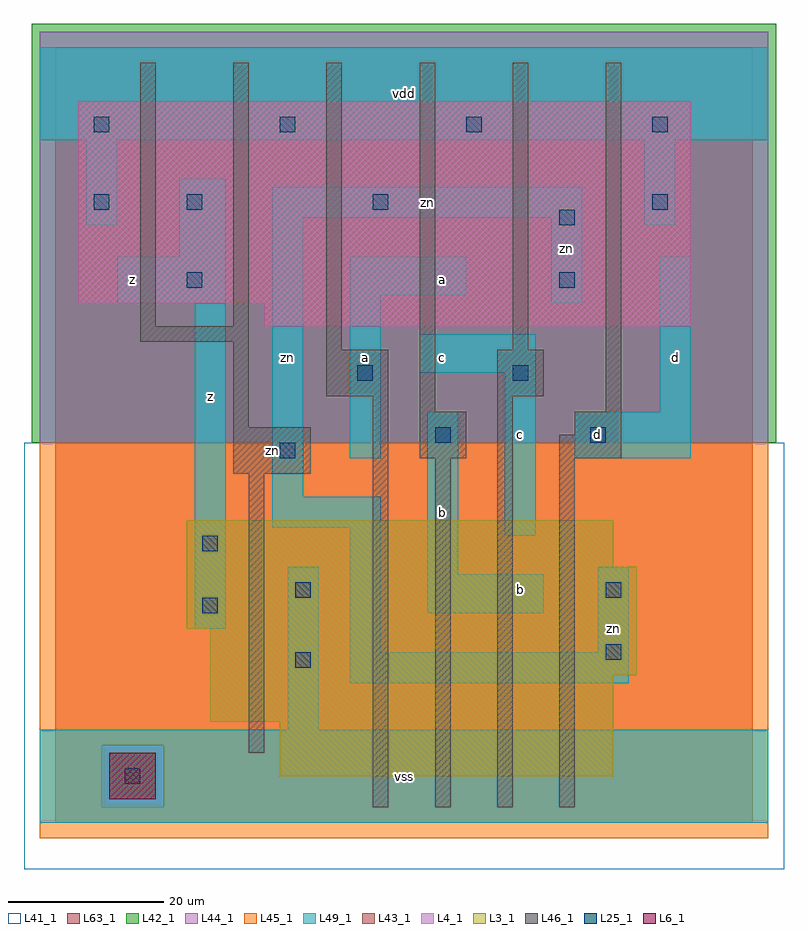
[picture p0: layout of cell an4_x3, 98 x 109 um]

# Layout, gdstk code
import gdstk
lib = gdstk.Library(unit=1e-6, precision=1e-09)
def R(c, l, rs):  # rectangles x0, y0, x1, y1
    for r in rs: c.add(gdstk.rectangle(r[:2], r[2:], *l))
def A(c, l, x, y, w, h, nx, ny, dx, dy):  # array of equal rectangles
    R(c, l, [(x+i*dx, y+j*dy, x+i*dx+w, y+j*dy+h) for i in range(nx) for j in range(ny)])
L3_1 = (3, 1)
L4_1 = (4, 1)
L6_1 = (6, 1)
L25_1 = (25, 1)
L41_1 = (41, 1)
L42_1 = (42, 1)
L43_1 = (43, 1)
L44_1 = (44, 1)
L45_1 = (45, 1)
L46_1 = (46, 1)
L49_1 = (49, 1)
L63_1 = (63, 1)

an4_x3 = lib.new_cell('an4_x3')
R(an4_x3, L3_1, [(29,6,72,13), (20,13,72,19), (20,19,75,25), (17,25,75,33), (17,33,72,39)])
R(an4_x3, L4_1, [(27,64,82,67), (3,67,82,93)])
R(an4_x3, L6_1, [(7,3,13,9)])
A(an4_x3, L25_1, 5, 89, 2, 2, 4, 1, 24, 0)
R(an4_x3, L25_1, [(9,5,11,7), (31,20,33,22), (71,21,73,23), (19,27,21,29), (31,29,33,31), (71,29,73,31), (19,35,21,37), (29,47,31,49), (49,49,51,51), (69,49,71,51), (39,57,41,59), (59,57,61,59), (17,69,19,71), (65,69,67,71), (65,77,67,79), (5,79,7,81), (17,79,19,81), (41,79,43,81), (77,79,79,81)])
R(an4_x3, L41_1, [(-4,-6,94,49), (-3,-3,93,49)])
R(an4_x3, L42_1, [(-3,49,93,103)])
R(an4_x3, L43_1, [(7,3,13,9), (29,6,72,13), (20,13,72,19), (20,19,75,25), (17,25,75,33), (17,33,72,39), (27,64,82,67), (3,67,82,93)])
R(an4_x3, L44_1, [(6,2,14,10), (-2,49,92,102)])
R(an4_x3, L45_1, [(-2,-2,92,2), (-2,2,6,10), (14,2,92,10), (-2,10,92,49)])
R(an4_x3, L46_1, [(41,2,43,55), (49,2,51,47), (57,2,59,55), (65,2,67,47), (25,9,27,45), (23,45,33,51), (47,47,53,53), (65,47,73,50), (67,50,73,53), (23,51,25,62), (47,53,49,98), (71,53,73,98), (35,55,43,61), (57,55,63,61), (35,61,37,98), (59,61,61,98), (11,62,25,64), (11,64,13,98), (23,64,25,98)])
R(an4_x3, L49_1, [(-2,0,92,12), (30,12,34,33), (38,18,74,22), (38,22,42,38), (70,22,74,33), (18,25,22,67), (48,27,63,32), (48,32,52,53), (58,37,62,58), (28,38,42,42), (28,42,32,78), (38,47,42,68), (67,47,82,53), (78,53,82,73), (47,58,62,63), (8,67,22,73), (64,67,68,78), (38,68,53,73), (16,73,22,83), (4,77,8,88), (76,77,80,88), (28,78,68,82), (-2,88,92,100)])
R(an4_x3, L63_1, [(0,0,90,100)])
an4_x3.add(gdstk.Label('zn', (28,48), layer=46, texttype=1))
an4_x3.add(gdstk.Label('z', (10,70), layer=49, texttype=1))
an4_x3.add(gdstk.Label('z', (10,70), layer=49, texttype=1))
an4_x3.add(gdstk.Label('z', (20,55), layer=49, texttype=1))
an4_x3.add(gdstk.Label('z', (20,55), layer=49, texttype=1))
an4_x3.add(gdstk.Label('zn', (30,60), layer=49, texttype=1))
an4_x3.add(gdstk.Label('vss', (45,6), layer=49, texttype=1))
an4_x3.add(gdstk.Label('vss', (45,6), layer=49, texttype=1))
an4_x3.add(gdstk.Label('b', (50,40), layer=49, texttype=1))
an4_x3.add(gdstk.Label('b', (50,40), layer=49, texttype=1))
an4_x3.add(gdstk.Label('a', (40,60), layer=49, texttype=1))
an4_x3.add(gdstk.Label('c', (50,60), layer=49, texttype=1))
an4_x3.add(gdstk.Label('c', (50,60), layer=49, texttype=1))
an4_x3.add(gdstk.Label('a', (40,60), layer=49, texttype=1))
an4_x3.add(gdstk.Label('a', (50,70), layer=49, texttype=1))
an4_x3.add(gdstk.Label('a', (50,70), layer=49, texttype=1))
an4_x3.add(gdstk.Label('vdd', (45,94), layer=49, texttype=1))
an4_x3.add(gdstk.Label('vdd', (45,94), layer=49, texttype=1))
an4_x3.add(gdstk.Label('b', (60,30), layer=49, texttype=1))
an4_x3.add(gdstk.Label('b', (60,30), layer=49, texttype=1))
an4_x3.add(gdstk.Label('d', (70,50), layer=49, texttype=1))
an4_x3.add(gdstk.Label('c', (60,50), layer=49, texttype=1))
an4_x3.add(gdstk.Label('c', (60,50), layer=49, texttype=1))
an4_x3.add(gdstk.Label('d', (70,50), layer=49, texttype=1))
an4_x3.add(gdstk.Label('zn', (66,74), layer=49, texttype=1))
an4_x3.add(gdstk.Label('zn', (48,80), layer=49, texttype=1))
an4_x3.add(gdstk.Label('zn', (72,25), layer=49, texttype=1))
an4_x3.add(gdstk.Label('d', (80,60), layer=49, texttype=1))
an4_x3.add(gdstk.Label('d', (80,60), layer=49, texttype=1))

lib.write_gds('an4_x3.gds')
